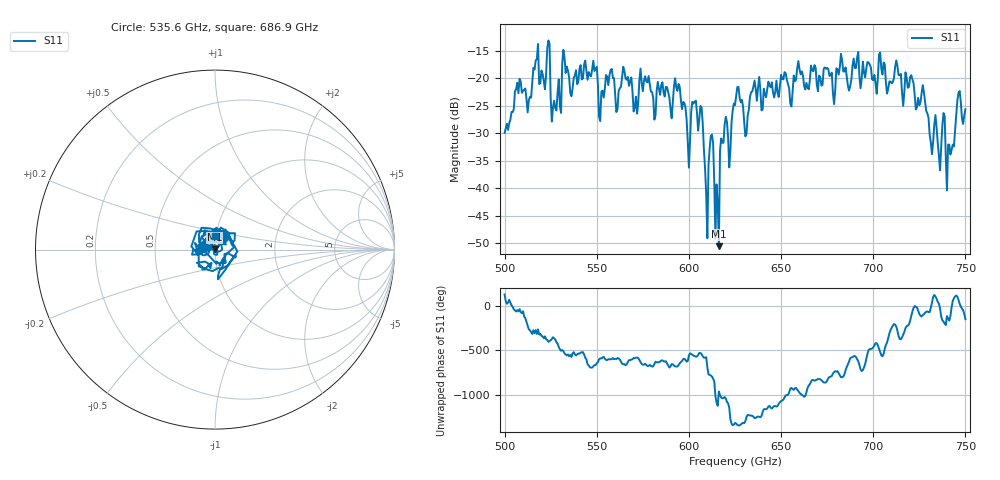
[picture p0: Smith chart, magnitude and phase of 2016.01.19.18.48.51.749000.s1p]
!Created with skrf (http://scikit-rf.org).
# GHz S RI R 50.0
!freq ReS11 ImS11
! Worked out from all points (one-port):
!   401 points, 500 GHz to 750 GHz, reference 50 ohm
!   lowest |S11| = -50.6 dB at 616.2 GHz (marker M1), VSWR 1.01, Z = 49.9 + j0.265 ohm
!   |S11| at or under -10 dB: start of sweep to end of sweep
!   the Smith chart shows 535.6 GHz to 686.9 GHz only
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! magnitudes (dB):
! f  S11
! 500 GHz  -30.0
! 507.5 GHz  -22.8
! 513.1 GHz  -24.1
! 516.9 GHz  -16.8
! 523.8 GHz  -13.2
! 526.9 GHz  -24.1
! 531.2 GHz  -17.4
! 562.5 GHz  -21.8
! 593.8 GHz  -22.3
! 599.4 GHz  -31.6
! 602.5 GHz  -24.6
! 606.9 GHz  -25.3
! 609.4 GHz  -41.1
! 612.5 GHz  -30.3
! 615 GHz  -39.3
! 616.2 GHz  -50.6
! 618.8 GHz  -31.8
! 622.5 GHz  -33.2
! 625 GHz  -24.9
! 631.2 GHz  -30.2
! 635 GHz  -21.5
! 656.2 GHz  -22.5
! 660 GHz  -18.4
! 687.5 GHz  -21.4
! 718.8 GHz  -21.8
! 740.6 GHz  -32.1
! 746.2 GHz  -22.7
! 750 GHz  -25.7
